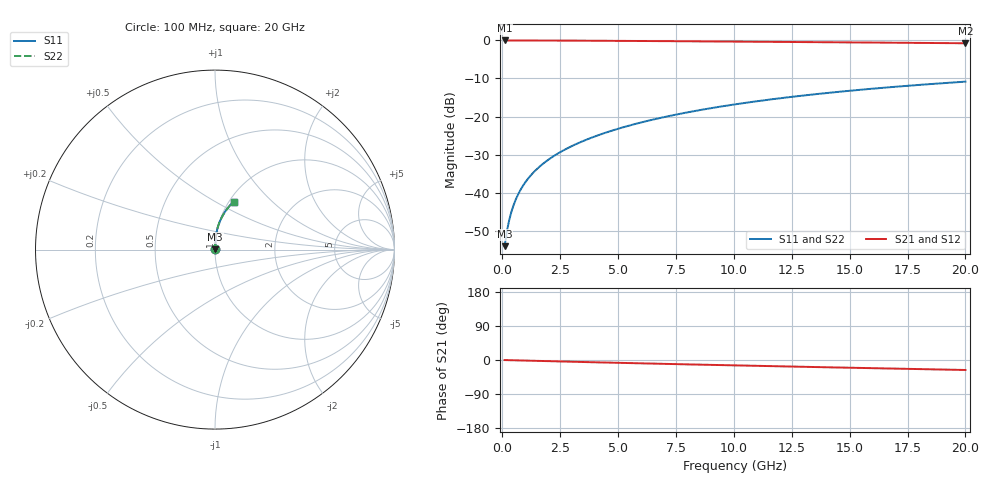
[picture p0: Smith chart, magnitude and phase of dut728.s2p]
! Touchstone file exported from HFSS 2024.1.0
!  File:  C:/UserFiles/LocalFiles/RDL_TSV_Batchsim/temp_RDL_top_728_1779850922.aedt
!  Generated:  11:04:20 AM May 27, 2026
!  Design:  RDL_top
!  Project:  temp_RDL_top_728_1779850922
!  Setup:  Setup1
!  Solution:  Sweep
! Variables:
!  dtsv = 10.80580581um
!  hbump = 3um
!  htsv = 59.29um
!  ldown = 100um
!  lrdl = 336.87um
!  p = 40
!  p1 = 54.47um
!  rhole = 1um
!  t = 450um
!  tdown = 3.915915916um
!  trdl = 4.87um
!  wdown = 15.38538539um
!  wrdl = 19.86um
# GHz S MA R 50.000000
! Terminal data exported
! Port[1] = Box2_T1
! Port[2] = Box2_T2
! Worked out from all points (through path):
!   200 points, 100 MHz to 20 GHz, reference 50 ohm
!   highest |S21| = -0.01 dB at 100 MHz (marker M1); lowest = -0.7 dB at 20 GHz (marker M2)
!   group delay of S21, straight-line fit = 3.63 ps
!   lowest |S11| = -54.0 dB at 100 MHz (marker M3), VSWR 1.00, Z = 50.1 + j0.144 ohm
!   |S11| at or under -10 dB: start of sweep to end of sweep
!   |S22| runs from -54.0 to -10.8 dB; largest |S21 - S12| = 2.7e-15
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0.1  0.00199 46.2  0.9986 -0.2  0.9986 -0.2  0.00199 46.2
! Gamma 0 0 0 0
! Port Impedance 50 0 50 0
0.2  0.003127 64.6  0.9985 -0.3  0.9985 -0.3  0.003128 64.6
0.3  0.004399 72.4  0.9984 -0.5  0.9984 -0.5  0.0044 72.4
0.4  0.005716 76.5  0.9984 -0.6  0.9984 -0.6  0.005717 76.5
0.5  0.007052 78.9  0.9983 -0.8  0.9983 -0.8  0.007053 79.0
0.7  0.009747 81.7  0.9981 -1.1  0.9981 -1.1  0.009748 81.7
0.8  0.0111 82.5  0.998 -1.2  0.998 -1.2  0.0111 82.5
1  0.0138 83.7  0.9978 -1.6  0.9978 -1.6  0.0138 83.7
1.2  0.0165 84.4  0.9975 -1.9  0.9975 -1.9  0.0165 84.4
1.4  0.0192 84.9  0.9972 -2.2  0.9972 -2.2  0.0192 84.9
1.7  0.02325 85.5  0.9967 -2.6  0.9967 -2.6  0.02325 85.5
2  0.0273 85.8  0.9961 -3.1  0.9961 -3.1  0.0273 85.8
2.7  0.03683 86.3  0.9944 -4.1  0.9944 -4.1  0.03683 86.3
3.5  0.04789 86.5  0.992 -5.3  0.992 -5.3  0.04789 86.5
4.2  0.05774 86.4  0.9897 -6.3  0.9897 -6.3  0.05774 86.4
5  0.0692 86.1  0.9867 -7.5  0.9867 -7.5  0.06921 86.1
6.8  0.09568 84.9  0.9793 -10.0  0.9793 -10.0  0.09569 84.9
8.4  0.1197 83.3  0.9724 -12.1  0.9724 -12.1  0.1197 83.3
10.1  0.1455 81.4  0.9649 -14.3  0.9649 -14.3  0.1455 81.4
13.4  0.1949 77.2  0.9498 -18.5  0.9498 -18.5  0.1949 77.2
16.7  0.2425 72.9  0.934 -22.5  0.934 -22.5  0.2425 72.9
20  0.2875 68.6  0.9175 -26.4  0.9175 -26.4  0.2875 68.7
